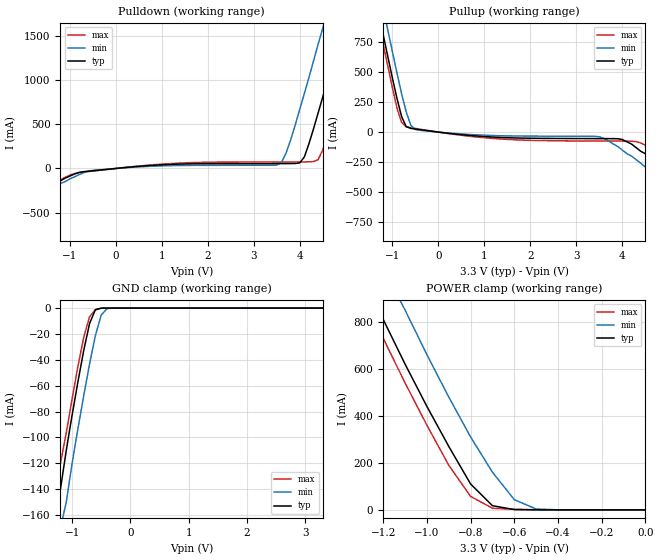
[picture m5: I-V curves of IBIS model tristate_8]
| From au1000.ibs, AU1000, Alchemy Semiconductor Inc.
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|   Model tristate_8
[Model]   tristate_8
Model_type   I/O
Polarity   Non-Inverting
Vinl = 0.660V
Vinh = 2.640V
Enable   Active-High
C_comp   1.25pF   1.20pF   1.30pF
[Temperature Range]   27.00   100.00   0.000
[Voltage Range]   3.30V   3.00V   3.60V
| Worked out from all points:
|   slope of the pulldown table from 0 to 0.495 V, typ, clamps not added: 20.6 ohm
|   slope of the pullup table from 0 to 0.495 V, typ, clamps not added: 23.1 ohm
|   GND clamp passes 1 mA (typ) near -0.58 V on its own axis
|   POWER clamp passes 1 mA (typ) near -0.58 V on its own axis
[Pulldown]
| voltage   I(typ)   I(min)   I(max)
-3.3V     -720mA     -760mA     -710mA
-1.3V     -170mA     -200mA     -150mA
-600mV    -31.12mA   -30.79mA   -34.65mA
3.6V      55.58mA    66.88mA    73.75mA
3.8V      55.76mA    320mA      73.9mA
4.1V      130mA      850mA      74.41mA
4.4V      630mA      1.41A      100mA
4.5V      810mA      1.59A      210mA
4.9V      1.56A      2.33A      920mA
5.2V      2.13A      2.89A      1.49A
5.3V      2.31A      3.07A      1.67A
6.6V      4.76A      5.48A      4.13A
[Pullup]
| voltage   I(typ)   I(min)   I(max)
-3.3V     4.75A      4.93A      4.69A
-1.3V     1A         1.22A      920mA
-1.2V     810mA      1.03A      730mA
-1.1V     630mA      850mA      550mA
-900mV    280mA      490mA      200mA
-800mV    130mA      320mA      80.31mA
-700mV    45.16mA    170mA      44.56mA
-500mV    25.39mA    21.74mA    30.18mA
3.5V      -54.22mA   -38.87mA   -74.48mA
4V        -62.21mA   -150mA     -75.14mA
4.5V      -180mA     -290mA     -110mA
6.6V      -770mA     -880mA     -700mA
[GND_clamp]
| voltage   I(typ)   I(min)   I(max)
-3.3V     -720mA     -760mA     -710mA
-1.4V     -190mA     -230mA     -180mA
-1.3V     -160mA     -200mA     -150mA
-1.2V     -140mA     -170mA     -120mA
-1.1V     -110mA     -150mA     -96.36mA
-1V       -82.72mA   -120mA     -70.17mA
-800mV    -32.65mA   -67.63mA   -22.37mA
-700mV    -11.86mA   -43.2mA    -6.68mA
-600mV    -1.23mA    -21.19mA   -1.3mA
-500mV    -49.23uA   -5.33mA    -130uA
-400mV    -2.14uA    -410uA     -6.5uA
3.3V      10pA       1.04nA     -10pA
[POWER_clamp]
| voltage   I(typ)   I(min)   I(max)
-3.3V     4.75A      4.92A      4.69A
-1.3V     1A         1.22A      920mA
-1.2V     810mA      1.03A      730mA
-1.1V     620mA      850mA      540mA
-1V       440mA      660mA      360mA
-900mV    270mA      480mA      190mA
-800mV    110mA      310mA      57.26mA
-700mV    17.65mA    160mA      6.88mA
-600mV    1.22mA     43.35mA    2.16mA
-500mV    120uA      3.64mA     500uA
-400mV    9.35uA     180uA      38.34uA
0V        50pA       1.95nA     80pA
[Ramp]
| variable   typ   min   max
dV/dt_r   1.85/0.23ns   1.21/0.29ns   1.98/0.16ns
dV/dt_f   1.82/0.23ns   1.54/0.40ns   1.88/0.14ns
R_load = 0.10k
| End [Model] tristate_8
